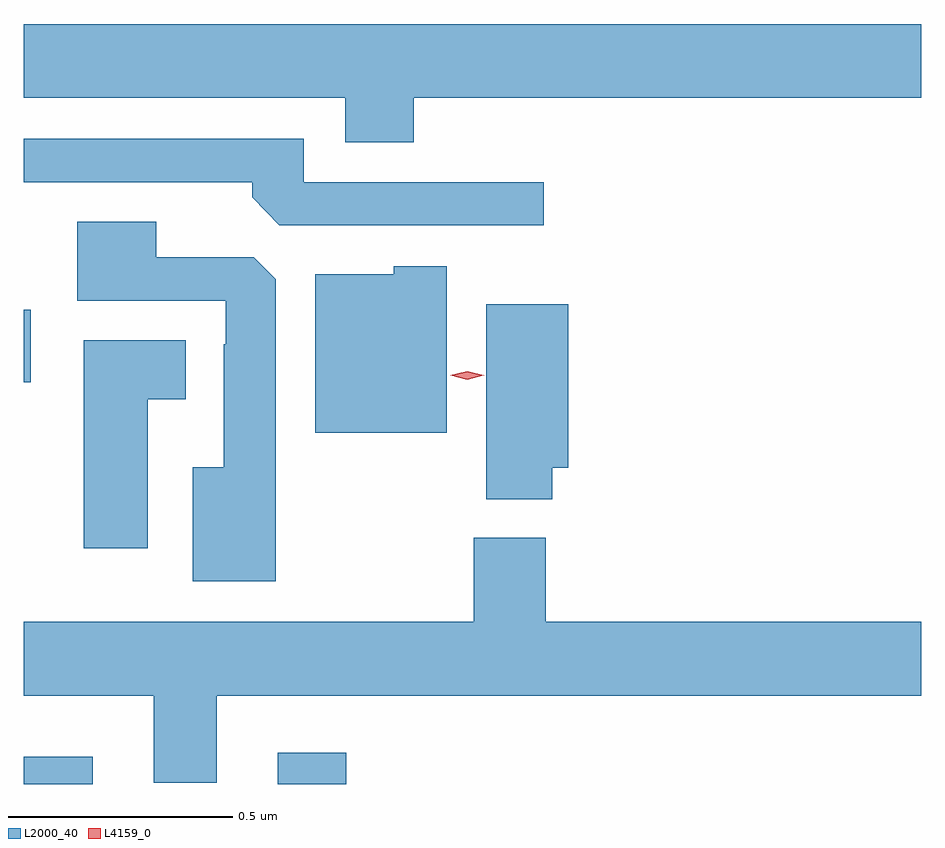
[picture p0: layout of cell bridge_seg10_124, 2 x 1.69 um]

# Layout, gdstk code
import gdstk
lib = gdstk.Library(unit=1e-6, precision=1e-09)
def R(c, l, rs):  # rectangles x0, y0, x1, y1
    for r in rs: c.add(gdstk.rectangle(r[:2], r[2:], *l))
def P(c, l, *ps):  # polygons
    for p in ps: c.add(gdstk.Polygon(p, *l))
L2000_40 = (2000, 40)
L4159_0 = (4159, 0)

bridge_seg10_124 = lib.new_cell('bridge_seg10_124')
R(bridge_seg10_124, L2000_40, [(384.099,1286.799,384.253,1286.86), (384.665,1286.799,384.818,1286.869), (384.099,1287.694,384.115,1287.856)])
P(bridge_seg10_124, L2000_40, [(384.968,1288.328),(386.099,1288.328),(386.099,1288.492),(384.099,1288.492),(384.099,1288.328),(384.815,1288.328),(384.815,1288.229),(384.968,1288.229)],
  [(385.258,1288.14),(384.723,1288.14),(384.723,1288.236),(384.099,1288.236),(384.099,1288.14),(384.608,1288.14),(384.608,1288.106),(384.669,1288.044),(385.258,1288.044)],
  [(384.661,1287.923),(384.612,1287.972),(384.394,1287.972),(384.394,1288.051),(384.218,1288.051),(384.218,1287.876),(384.549,1287.876),(384.549,1287.779),(384.545,1287.779),(384.545,1287.505),(384.476,1287.505),(384.476,1287.251),(384.661,1287.251)],
  [(385.042,1287.952),(384.924,1287.952),(384.924,1287.934),(384.749,1287.934),(384.749,1287.581),(385.042,1287.581)],
  [(385.277,1287.503),(385.312,1287.503),(385.312,1287.868),(385.13,1287.868),(385.13,1287.433),(385.277,1287.433)],
  [(384.376,1287.656),(384.46,1287.656),(384.46,1287.787),(384.233,1287.787),(384.233,1287.324),(384.376,1287.324)],
  [(384.529,1286.996),(386.099,1286.996),(386.099,1287.16),(385.262,1287.16),(385.262,1287.348),(385.102,1287.348),(385.102,1287.16),(384.099,1287.16),(384.099,1286.996),(384.389,1286.996),(384.389,1286.802),(384.529,1286.802)])
P(bridge_seg10_124, L4159_0, [(385.087,1287.699),(385.049,1287.709),(385.049,1287.71),(385.049,1287.71),(385.087,1287.719),(385.124,1287.709),(385.125,1287.709),(385.124,1287.709)])

lib.write_gds('bridge_seg10_124.gds')
